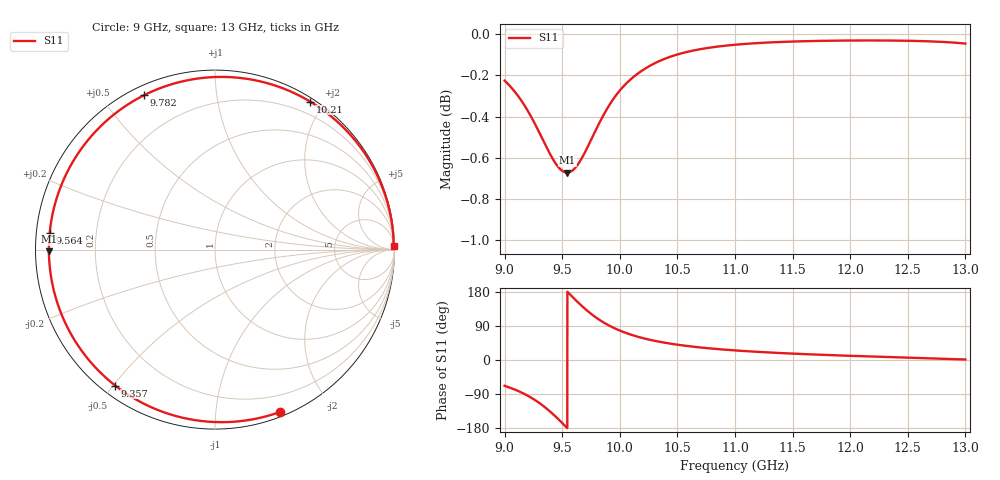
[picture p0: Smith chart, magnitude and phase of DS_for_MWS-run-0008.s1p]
! TOUCHSTONE file generated by CST DESIGN STUDIO
! Date and time: Tue Feb  4 14:25:36 2025
! Project name: C:\Work\MatlabApps\UnitCellOptimizationMatlab\CST\unitcell.cst
! Tree item: Tasks\Sweep1\SPara1\S-Parameters
! Header version: 2024
! Port assignment regex: !\s*Touchstone port\s*([0-9]+)\s*=\s*(CST MWS port|CST DES external port|CST DES block port)\s*(.+)\s* \(\"(.*)\"\)(\s*mode\s*([0-9]+))?.*
! Touchstone port assignment:
! Touchstone port 1 = CST DES external port 1 ("")
# GHz S MA R 50
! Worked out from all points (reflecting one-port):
!   4001 points, 9 GHz to 13 GHz, reference 50 ohm
!   lowest |S11| = -0.7 dB at 9.543 GHz (marker M1), VSWR 25.87, Z = 1.93 - j0.266 ohm
!   phase of S11 starts at -68 deg and turns -291 deg over the sweep
!   S11 on the Smith chart (normalised r, x): 9 GHz: 0.04, -1.48; 9.357 GHz: 0.04, -0.51; 9.564 GHz: 0.04, +0.05; 9.782 GHz: 0.04, +0.64; 10.21 GHz: 0.04, +1.83; 13 GHz: 19, +84
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9  0.9744 -68.1
9.103  0.9672 -79.8
9.213  0.9568 -96.3
9.289  0.948 -110.8
9.357  0.9396 -126.3
9.425  0.932 -144.2
9.464  0.9286 -155.4
9.5  0.9265 -166.2
9.543  0.9256 -179.4
9.564  0.9258 174.1
9.618  0.9284 157.7
9.679  0.934 140.2
9.73  0.9401 126.8
9.782  0.9466 114.6
9.828  0.9523 105.0
9.878  0.958 95.7
9.939  0.964 86.0
10  0.9691 77.6
10.098  0.9753 66.7
10.207  0.9805 57.2
10.342  0.9851 48.3
10.5  0.9888 40.4
10.721  0.992 32.4
11  0.9942 25.3
11.5  0.996 16.9
12  0.9966 11.1
12.5  0.9964 6.3
13  0.9949 1.3
